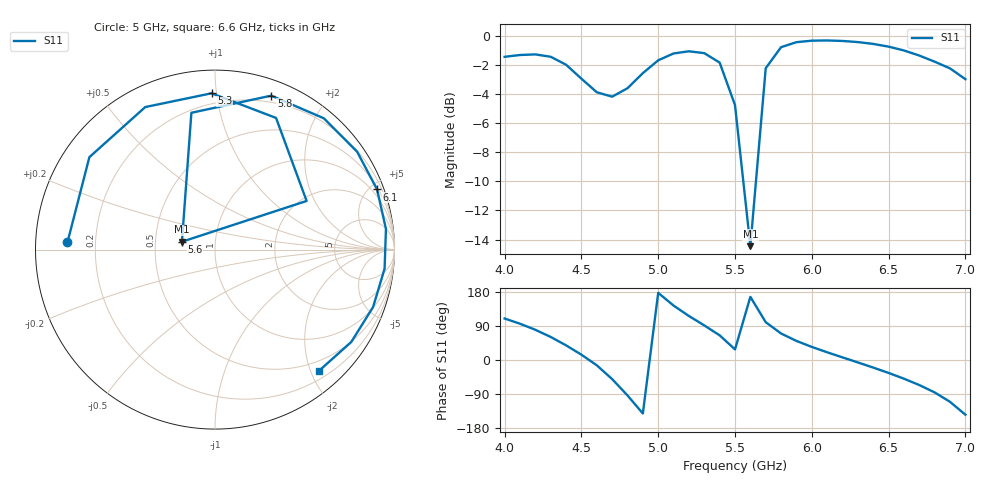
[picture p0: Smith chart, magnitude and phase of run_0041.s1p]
! Touchstone file exported from HFSS 2024.2.0
!  File:  C:/Users/wsak9/Desktop/Sim Fast/Widenad Patch/WP_AI_V1_sweep.aedt
!  Generated:  04:31:24 PM Oct 13, 2026
!  Design:  A1_model
!  Project:  WP_AI_V1_sweep
!  Setup:  Setup1
!  Solution:  Sweep
! Variables:
!  Air_gap = 2.35mm
!  Curve_Amp1 = 2.75
!  Curve_len1 = 1
!  Curve_pos = 10.9mm
!  Extra = 7.89mm
!  H_sub = 0.79mm
!  L_Patch = 17.8mm
!  L_Patch1 = 24.06mm
!  Sx = 0.7mm
!  Sy = 1.75mm
!  WS = 0.51mm
!  W_Patch = 19.94mm
!  W_Patch1 = 16.17mm
!Data is not renormalized
# GHz S MA
! Terminal data exported
! Port[1] = 1
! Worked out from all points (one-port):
!   31 points, 4 GHz to 7 GHz, reference per port
!   lowest |S11| = -14.5 dB at 5.6 GHz (marker M1), VSWR 1.47
!   |S11| at or under -10 dB: 5.554 GHz to 5.636 GHz (82.41 MHz wide, 1.47 % of centre)
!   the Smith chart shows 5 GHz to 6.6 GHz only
!   S11 on the Smith chart (normalised r, x): 5 GHz: 0.10, +0.02; 5.3 GHz: 0.13, +0.97; 5.6 GHz: 0.69, +0.06; 5.8 GHz: 0.14, +1.42; 6.1 GHz: 0.59, +5.51; 6.6 GHz: 0.33, -2.14
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4  0.8463 109.5
4.2  0.8626 79.8
4.3  0.8466 60.8
4.4  0.795 38.7
4.5  0.7119 14.0
4.6  0.6395 -14.0
4.7  0.6174 -50.3
4.8  0.6601 -93.5
4.9  0.7437 -141.2
5  0.8231 177.2
5.1  0.869 143.7
5.2  0.8841 116.1
5.3  0.8711 91.3
5.4  0.8086 65.1
5.5  0.5779 28.0
5.6  0.1893 166.6
5.7  0.7735 99.8
5.8  0.9133 69.9
5.9  0.9502 50.3
6  0.9615 34.5
6.1  0.9632 20.4
6.3  0.9508 -6.4
6.4  0.9371 -20.0
6.6  0.8898 -49.3
6.7  0.8548 -66.1
6.8  0.8144 -85.6
6.9  0.7722 -110.4
7  0.7091 -144.3
